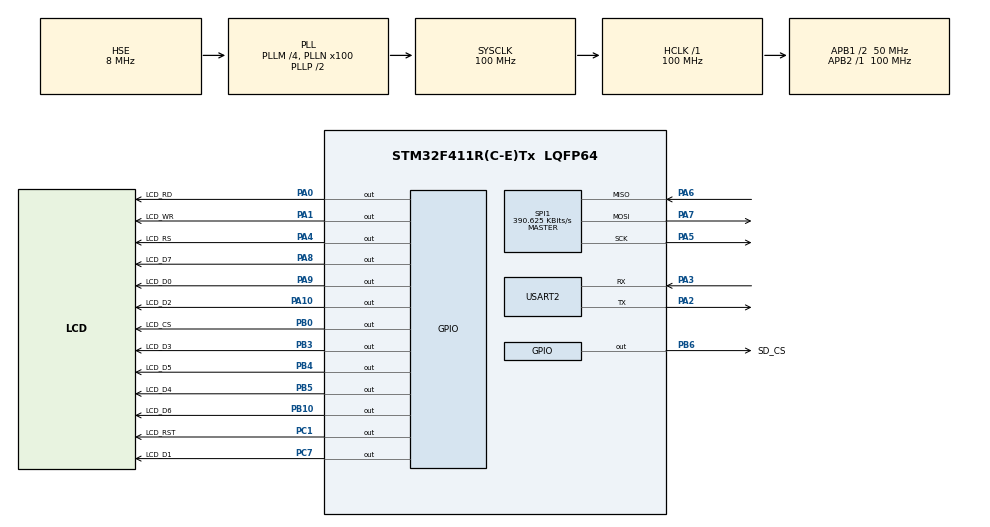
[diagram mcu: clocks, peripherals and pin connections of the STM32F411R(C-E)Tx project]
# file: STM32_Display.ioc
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ADC1.Channel-0\#ChannelRegularConversion=ADC_CHANNEL_TEMPSENSOR
ADC1.InjNumberOfConversion=0
ADC1.NbrOfConversionFlag=1
ADC1.Rank-0\#ChannelRegularConversion=1
ADC1.SamplingTime-0\#ChannelRegularConversion=ADC_SAMPLETIME_3CYCLES
ADC1.master=1
Mcu.Family=STM32F4
Mcu.Name=STM32F411R(C-E)Tx
Mcu.Package=LQFP64
NVIC.ADC_IRQn=true\:0\:0\:false\:false\:true\:true\:true\:true
NVIC.PriorityGroup=NVIC_PRIORITYGROUP_0
PA0-WKUP.GPIO_Label=LCD_RD
PA0-WKUP.GPIO_Speed=GPIO_SPEED_FREQ_VERY_HIGH
PA0-WKUP.PinState=GPIO_PIN_SET
PA0-WKUP.Signal=GPIO_Output
PA1.GPIO_Label=LCD_WR
PA1.GPIO_Speed=GPIO_SPEED_FREQ_VERY_HIGH
PA1.PinState=GPIO_PIN_SET
PA1.Signal=GPIO_Output
PA10.GPIO_Label=LCD_D2
PA10.GPIO_Speed=GPIO_SPEED_FREQ_VERY_HIGH
PA10.Signal=GPIO_Output
PA13.GPIO_Label=TMS
PA13.Mode=Serial_Wire
PA13.Signal=SYS_JTMS-SWDIO
PA14.GPIO_Label=TCK
PA14.Mode=Serial_Wire
PA14.Signal=SYS_JTCK-SWCLK
PA2.Mode=Asynchronous
PA2.Signal=USART2_TX
PA3.Mode=Asynchronous
PA3.Signal=USART2_RX
PA4.GPIO_Label=LCD_RS
PA4.GPIO_Speed=GPIO_SPEED_FREQ_VERY_HIGH
PA4.Signal=GPIO_Output
PA5.Mode=Full_Duplex_Master
PA5.Signal=SPI1_SCK
PA6.GPIO_PuPd=GPIO_PULLUP
PA6.Mode=Full_Duplex_Master
PA6.Signal=SPI1_MISO
PA7.Mode=Full_Duplex_Master
PA7.Signal=SPI1_MOSI
PA8.GPIO_Label=LCD_D7
PA8.GPIO_Speed=GPIO_SPEED_FREQ_VERY_HIGH
PA8.Signal=GPIO_Output
PA9.GPIO_Label=LCD_D0
PA9.GPIO_Speed=GPIO_SPEED_FREQ_VERY_HIGH
PA9.Signal=GPIO_Output
PB0.GPIO_Label=LCD_CS
PB0.GPIO_Speed=GPIO_SPEED_FREQ_VERY_HIGH
PB0.PinState=GPIO_PIN_SET
PB0.Signal=GPIO_Output
PB10.GPIO_Label=LCD_D6
PB10.GPIO_Speed=GPIO_SPEED_FREQ_VERY_HIGH
PB10.Signal=GPIO_Output
PB3.GPIO_Label=LCD_D3
PB3.GPIO_Speed=GPIO_SPEED_FREQ_VERY_HIGH
PB3.Signal=GPIO_Output
PB4.GPIO_Label=LCD_D5
PB4.GPIO_Speed=GPIO_SPEED_FREQ_VERY_HIGH
PB4.Signal=GPIO_Output
PB5.GPIO_Label=LCD_D4
PB5.GPIO_Speed=GPIO_SPEED_FREQ_VERY_HIGH
PB5.Signal=GPIO_Output
PB6.GPIO_Label=SD_CS
PB6.PinState=GPIO_PIN_SET
PB6.Signal=GPIO_Output
PC1.GPIO_Label=LCD_RST
PC1.GPIO_Speed=GPIO_SPEED_FREQ_VERY_HIGH
PC1.PinState=GPIO_PIN_SET
PC1.Signal=GPIO_Output
PC14-OSC32_IN.Mode=LSE-External-Oscillator
PC14-OSC32_IN.Signal=RCC_OSC32_IN
PC15-OSC32_OUT.Mode=LSE-External-Oscillator
PC15-OSC32_OUT.Signal=RCC_OSC32_OUT
PC7.GPIO_Label=LCD_D1
PC7.GPIO_Speed=GPIO_SPEED_FREQ_VERY_HIGH
PC7.Signal=GPIO_Output
PH0\ -\ OSC_IN.Mode=HSE-External-Clock-Source
PH0\ -\ OSC_IN.Signal=RCC_OSC_IN
PH1\ -\ OSC_OUT.Mode=HSE-External-Clock-Source
PH1\ -\ OSC_OUT.Signal=RCC_OSC_OUT
ProjectManager.HeapSize=0x200
ProjectManager.StackSize=0x800
ProjectManager.TargetToolchain=STM32CubeIDE
RCC.48MHZClocksFreq_Value=50000000
RCC.AHBFreq_Value=100000000
RCC.APB1CLKDivider=RCC_HCLK_DIV2
RCC.APB1Freq_Value=50000000
RCC.APB1TimFreq_Value=100000000
RCC.APB2Freq_Value=100000000
RCC.APB2TimFreq_Value=100000000
RCC.CortexFreq_Value=100000000
RCC.FLatency-AdvancedSettings=FLASH_LATENCY_3
RCC.HCLKFreq_Value=100000000
RCC.HSE_VALUE=8000000
RCC.HSI_VALUE=16000000
RCC.PLLM=4
RCC.PLLN=100
RCC.PLLSourceVirtual=RCC_PLLSOURCE_HSE
RCC.SYSCLKFreq_VALUE=100000000
RCC.SYSCLKSource=RCC_SYSCLKSOURCE_PLLCLK
RCC.VCOOutputFreq_Value=200000000
SPI1.BaudRatePrescaler=SPI_BAUDRATEPRESCALER_256
SPI1.CalculateBaudRate=390.625 KBits/s
SPI1.Direction=SPI_DIRECTION_2LINES
SPI1.Mode=SPI_MODE_MASTER
SPI1.VirtualType=VM_MASTER
USART2.VirtualMode=VM_ASYNC
VP_ADC1_TempSens_Input.Mode=IN-TempSens
VP_FATFS_VS_Generic.Mode=User_defined
board=NUCLEO-F411RE

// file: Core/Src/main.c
/* USER CODE BEGIN Header */
/**
  ******************************************************************************
  * @file           : main.c
  * @brief          : Main program body
  ******************************************************************************
  * @attention
  *
  * Copyright (c) 2026 STMicroelectronics.
  * All rights reserved.
  *
  * This software is licensed under terms that can be found in the LICENSE file
  * in the root directory of this software component.
  * If no LICENSE file comes with this software, it is provided AS-IS.
  *
  ******************************************************************************
  */
/* USER CODE END Header */
#include "main.h"
#include "fatfs.h"

/* USER CODE BEGIN Includes */
#include <stdio.h>
#include "IO/Header/lcd_io.h"
#include "IO/Header/sys_io.h"
#include "Utils/Header/lcd.h"
#include "Utils/Header/cardSD.h"
#include "Gfx/Header/gfx.h"
#include "UI/Header/screens.h"
#include "IO/Header/cardSD_io.h"
#include "Utils/Header/cardFS.h"
#include "IO/Header/touchscreen_io.h"
#include "Gfx/Header/bmp.h"
#include "Utils/Header/touchscreen.h"
#include "App/Header/app.h"
/* USER CODE END Includes */

/* USER CODE BEGIN PD */
#define TOUCH_THRESHOLD 100
/* USER CODE END PD */

ADC_HandleTypeDef hadc1;

SPI_HandleTypeDef hspi1;

UART_HandleTypeDef huart2;

void SystemClock_Config(void);
static void MX_GPIO_Init(void);
static void MX_SPI1_Init(void);
static void MX_USART2_UART_Init(void);
static void MX_ADC1_Init(void);
/* USER CODE BEGIN PFP */
static void Wait_Touch(uint16_t *x, uint16_t *y);
static void Wait_Release();
/* USER CODE END PFP */

int main(void)
{

  /* MCU Configuration--------------------------------------------------------*/

  /* Reset of all peripherals, Initializes the Flash interface and the Systick. */
  HAL_Init();

  /* Configure the system clock */
  SystemClock_Config();

  /* Initialize all configured peripherals */
  MX_GPIO_Init();
  MX_SPI1_Init();
  MX_USART2_UART_Init();
  MX_FATFS_Init();
  MX_ADC1_Init();
  /* USER CODE BEGIN 2 */

  APP_Init();

  /* USER CODE END 2 */

  /* Infinite loop */
  while (1)
  {

    /* USER CODE BEGIN 3 */

	  APP_Run();
  }
  /* USER CODE END 3 */
}

void SystemClock_Config(void)
{
  RCC_OscInitTypeDef RCC_OscInitStruct = {0};
  RCC_ClkInitTypeDef RCC_ClkInitStruct = {0};

  /** Configure the main internal regulator output voltage
  */
  __HAL_RCC_PWR_CLK_ENABLE();
  __HAL_PWR_VOLTAGESCALING_CONFIG(PWR_REGULATOR_VOLTAGE_SCALE1);

  /** Initializes the RCC Oscillators according to the specified parameters
  * in the RCC_OscInitTypeDef structure.
  */
  RCC_OscInitStruct.OscillatorType = RCC_OSCILLATORTYPE_HSE;
  RCC_OscInitStruct.HSEState = RCC_HSE_BYPASS;
  RCC_OscInitStruct.PLL.PLLState = RCC_PLL_ON;
  RCC_OscInitStruct.PLL.PLLSource = RCC_PLLSOURCE_HSE;
  RCC_OscInitStruct.PLL.PLLM = 4;
  RCC_OscInitStruct.PLL.PLLN = 100;
  RCC_OscInitStruct.PLL.PLLP = RCC_PLLP_DIV2;
  RCC_OscInitStruct.PLL.PLLQ = 4;
  if (HAL_RCC_OscConfig(&RCC_OscInitStruct) != HAL_OK)
  {
    Error_Handler();
  }

  /** Initializes the CPU, AHB and APB buses clocks
  */
  RCC_ClkInitStruct.ClockType = RCC_CLOCKTYPE_HCLK|RCC_CLOCKTYPE_SYSCLK
                              |RCC_CLOCKTYPE_PCLK1|RCC_CLOCKTYPE_PCLK2;
  RCC_ClkInitStruct.SYSCLKSource = RCC_SYSCLKSOURCE_PLLCLK;
  RCC_ClkInitStruct.AHBCLKDivider = RCC_SYSCLK_DIV1;
  RCC_ClkInitStruct.APB1CLKDivider = RCC_HCLK_DIV2;
  RCC_ClkInitStruct.APB2CLKDivider = RCC_HCLK_DIV1;

  if (HAL_RCC_ClockConfig(&RCC_ClkInitStruct, FLASH_LATENCY_3) != HAL_OK)
  {
    Error_Handler();
  }
}

static void MX_ADC1_Init(void)
{

  ADC_ChannelConfTypeDef sConfig = {0};

  /** Configure the global features of the ADC (Clock, Resolution, Data Alignment and number of conversion)
  */
  hadc1.Instance = ADC1;
  hadc1.Init.ClockPrescaler = ADC_CLOCK_SYNC_PCLK_DIV4;
  hadc1.Init.Resolution = ADC_RESOLUTION_12B;
  hadc1.Init.ScanConvMode = DISABLE;
  hadc1.Init.ContinuousConvMode = DISABLE;
  hadc1.Init.DiscontinuousConvMode = DISABLE;
  hadc1.Init.ExternalTrigConvEdge = ADC_EXTERNALTRIGCONVEDGE_NONE;
  hadc1.Init.ExternalTrigConv = ADC_SOFTWARE_START;
  hadc1.Init.DataAlign = ADC_DATAALIGN_RIGHT;
  hadc1.Init.NbrOfConversion = 1;
  hadc1.Init.DMAContinuousRequests = DISABLE;
  hadc1.Init.EOCSelection = ADC_EOC_SINGLE_CONV;
  if (HAL_ADC_Init(&hadc1) != HAL_OK)
  {
    Error_Handler();
  }

  /** Configure for the selected ADC regular channel its corresponding rank in the sequencer and its sample time.
  */
  sConfig.Channel = ADC_CHANNEL_TEMPSENSOR;
  sConfig.Rank = 1;
  sConfig.SamplingTime = ADC_SAMPLETIME_3CYCLES;
  if (HAL_ADC_ConfigChannel(&hadc1, &sConfig) != HAL_OK)
  {
    Error_Handler();
  }

}

static void MX_SPI1_Init(void)
{

  /* SPI1 parameter configuration*/
  hspi1.Instance = SPI1;
  hspi1.Init.Mode = SPI_MODE_MASTER;
  hspi1.Init.Direction = SPI_DIRECTION_2LINES;
  hspi1.Init.DataSize = SPI_DATASIZE_8BIT;
  hspi1.Init.CLKPolarity = SPI_POLARITY_LOW;
  hspi1.Init.CLKPhase = SPI_PHASE_1EDGE;
  hspi1.Init.NSS = SPI_NSS_SOFT;
  hspi1.Init.BaudRatePrescaler = SPI_BAUDRATEPRESCALER_256;
  hspi1.Init.FirstBit = SPI_FIRSTBIT_MSB;
  hspi1.Init.TIMode = SPI_TIMODE_DISABLE;
  hspi1.Init.CRCCalculation = SPI_CRCCALCULATION_DISABLE;
  hspi1.Init.CRCPolynomial = 10;
  if (HAL_SPI_Init(&hspi1) != HAL_OK)
  {
    Error_Handler();
  }

}

static void MX_USART2_UART_Init(void)
{

  huart2.Instance = USART2;
  huart2.Init.BaudRate = 115200;
  huart2.Init.WordLength = UART_WORDLENGTH_8B;
  huart2.Init.StopBits = UART_STOPBITS_1;
  huart2.Init.Parity = UART_PARITY_NONE;
  huart2.Init.Mode = UART_MODE_TX_RX;
  huart2.Init.HwFlowCtl = UART_HWCONTROL_NONE;
  huart2.Init.OverSampling = UART_OVERSAMPLING_16;
  if (HAL_UART_Init(&huart2) != HAL_OK)
  {
    Error_Handler();
  }

}

static void MX_GPIO_Init(void)
{
  GPIO_InitTypeDef GPIO_InitStruct = {0};

  /* GPIO Ports Clock Enable */
  __HAL_RCC_GPIOC_CLK_ENABLE();
  __HAL_RCC_GPIOH_CLK_ENABLE();
  __HAL_RCC_GPIOA_CLK_ENABLE();
  __HAL_RCC_GPIOB_CLK_ENABLE();

  /*Configure GPIO pin Output Level */
  HAL_GPIO_WritePin(LCD_RST_GPIO_Port, LCD_RST_Pin, GPIO_PIN_SET);

  /*Configure GPIO pin Output Level */
  HAL_GPIO_WritePin(GPIOA, LCD_RD_Pin|LCD_WR_Pin, GPIO_PIN_SET);

  /*Configure GPIO pin Output Level */
  HAL_GPIO_WritePin(GPIOA, LCD_RS_Pin|LCD_D7_Pin|LCD_D0_Pin|LCD_D2_Pin, GPIO_PIN_RESET);

  /*Configure GPIO pin Output Level */
  HAL_GPIO_WritePin(GPIOB, LCD_CS_Pin|SD_CS_Pin, GPIO_PIN_SET);

  /*Configure GPIO pin Output Level */
  HAL_GPIO_WritePin(GPIOB, LCD_D6_Pin|LCD_D3_Pin|LCD_D5_Pin|LCD_D4_Pin, GPIO_PIN_RESET);

  /*Configure GPIO pin Output Level */
  HAL_GPIO_WritePin(LCD_D1_GPIO_Port, LCD_D1_Pin, GPIO_PIN_RESET);

  /*Configure GPIO pins : LCD_RST_Pin LCD_D1_Pin */
  GPIO_InitStruct.Pin = LCD_RST_Pin|LCD_D1_Pin;
  GPIO_InitStruct.Mode = GPIO_MODE_OUTPUT_PP;
  GPIO_InitStruct.Pull = GPIO_NOPULL;
  GPIO_InitStruct.Speed = GPIO_SPEED_FREQ_VERY_HIGH;
  HAL_GPIO_Init(GPIOC, &GPIO_InitStruct);

  /*Configure GPIO pins : LCD_RD_Pin LCD_WR_Pin LCD_RS_Pin LCD_D7_Pin
                           LCD_D0_Pin LCD_D2_Pin */
  GPIO_InitStruct.Pin = LCD_RD_Pin|LCD_WR_Pin|LCD_RS_Pin|LCD_D7_Pin
                          |LCD_D0_Pin|LCD_D2_Pin;
  GPIO_InitStruct.Mode = GPIO_MODE_OUTPUT_PP;
  GPIO_InitStruct.Pull = GPIO_NOPULL;
  GPIO_InitStruct.Speed = GPIO_SPEED_FREQ_VERY_HIGH;
  HAL_GPIO_Init(GPIOA, &GPIO_InitStruct);

  /*Configure GPIO pins : LCD_CS_Pin LCD_D6_Pin LCD_D3_Pin LCD_D5_Pin
                           LCD_D4_Pin */
  GPIO_InitStruct.Pin = LCD_CS_Pin|LCD_D6_Pin|LCD_D3_Pin|LCD_D5_Pin
                          |LCD_D4_Pin;
  GPIO_InitStruct.Mode = GPIO_MODE_OUTPUT_PP;
  GPIO_InitStruct.Pull = GPIO_NOPULL;
  GPIO_InitStruct.Speed = GPIO_SPEED_FREQ_VERY_HIGH;
  HAL_GPIO_Init(GPIOB, &GPIO_InitStruct);

  /*Configure GPIO pin : SD_CS_Pin */
  GPIO_InitStruct.Pin = SD_CS_Pin;
  GPIO_InitStruct.Mode = GPIO_MODE_OUTPUT_PP;
  GPIO_InitStruct.Pull = GPIO_NOPULL;
  GPIO_InitStruct.Speed = GPIO_SPEED_FREQ_LOW;
  HAL_GPIO_Init(SD_CS_GPIO_Port, &GPIO_InitStruct);

}

/* USER CODE BEGIN 4 */
// Asteapta o apasare si intoarce media citirilor X si Y
static void Wait_Touch(uint16_t *x, uint16_t *y)
{
	uint32_t _sum_x = 0;
	uint32_t _sum_y = 0;
	uint8_t _samples = 0;

	while (_samples == 0)
	{
		while (Touch_IO_Read_Pressure() < TOUCH_THRESHOLD)
		{
			SYS_IO_Delay_MS(10);
		}
		SYS_IO_Delay_MS(100);		// apasarea se stabilizeaza

		for (uint8_t index = 0; index < 8; index++)
		{
			if (Touch_IO_Read_Pressure() >= TOUCH_THRESHOLD)
			{
				_sum_x += Touch_IO_Read_X();
				_sum_y += Touch_IO_Read_Y();
				_samples++;
			}
			SYS_IO_Delay_MS(5);
		}
	}

	*x = _sum_x / _samples;
	*y = _sum_y / _samples;
}

// Asteapta sa se ridice degetul
static void Wait_Release()
{
	while (Touch_IO_Read_Pressure() >= TOUCH_THRESHOLD)
	{
		SYS_IO_Delay_MS(10);
	}
	SYS_IO_Delay_MS(200);		// anti-tresarire
}
/* USER CODE END 4 */

void Error_Handler(void)
{
  __disable_irq();
  while (1)
  {
  }
}
